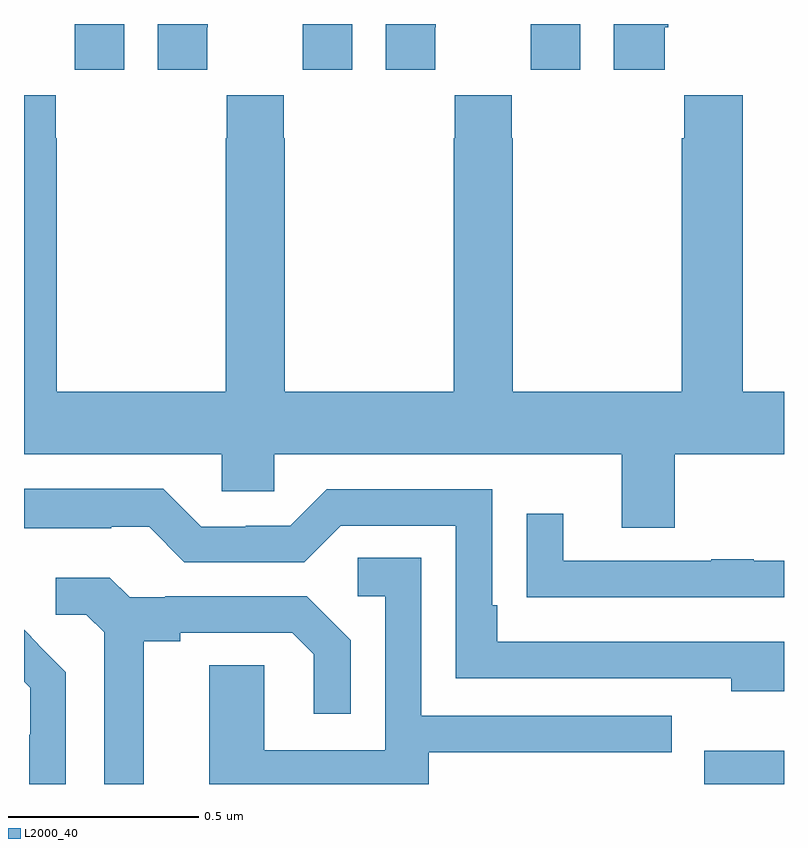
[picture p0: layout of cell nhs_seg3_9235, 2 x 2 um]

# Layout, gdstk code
import gdstk
lib = gdstk.Library(unit=1e-6, precision=1e-09)
def R(c, l, rs):  # rectangles x0, y0, x1, y1
    for r in rs: c.add(gdstk.rectangle(r[:2], r[2:], *l))
def P(c, l, *ps):  # polygons
    for p in ps: c.add(gdstk.Polygon(p, *l))
L2000_40 = (2000, 40)

nhs_seg3_9235 = lib.new_cell('nhs_seg3_9235')
R(nhs_seg3_9235, L2000_40, [(227.79,681.4,228,681.487)])
P(nhs_seg3_9235, L2000_40, [(226.482,683.392),(226.483,683.392),(226.483,683.4),(226.352,683.4),(226.352,683.28),(226.482,683.28)],
  [(226.864,683.4),(226.733,683.4),(226.733,683.392),(226.734,683.392),(226.734,683.28),(226.864,683.28)],
  [(227.082,683.392),(227.083,683.392),(227.083,683.4),(226.952,683.4),(226.952,683.28),(227.082,683.28)],
  [(227.464,683.4),(227.333,683.4),(227.333,683.392),(227.334,683.392),(227.334,683.28),(227.464,683.28)],
  [(227.686,683.392),(227.696,683.392),(227.696,683.4),(227.552,683.4),(227.552,683.28),(227.686,683.28)],
  [(226.264,683.4),(226.133,683.4),(226.133,683.392),(226.134,683.392),(226.134,683.28),(226.264,683.28)],
  [(227.713,682.268),(228,682.268),(228,682.432),(227.891,682.432),(227.891,683.212),(227.737,683.212),(227.737,683.099),(227.731,683.099),(227.731,682.432),(227.286,682.432),(227.286,683.099),(227.283,683.099),(227.283,683.212),(227.133,683.212),(227.133,683.099),(227.131,683.099),(227.131,682.432),(226.686,682.432),(226.686,683.099),(226.683,683.099),(226.683,683.212),(226.533,683.212),(226.533,683.099),(226.531,683.099),(226.531,682.432),(226.086,682.432),(226.086,683.099),(226.083,683.099),(226.083,683.212),(226,683.212),(226,682.268),(226.521,682.268),(226.521,682.17),(226.659,682.17),(226.659,682.268),(227.573,682.268),(227.573,682.074),(227.713,682.074)],
  [(228,681.774),(227.245,681.774),(227.245,681.871),(227.232,681.871),(227.232,682.176),(226.797,682.176),(226.701,682.08),(226.583,682.08),(226.583,682.077),(226.467,682.077),(226.367,682.177),(226,682.177),(226,682.073),(226.229,682.073),(226.229,682.077),(226.329,682.077),(226.422,681.984),(226.737,681.984),(226.833,682.08),(227.136,682.08),(227.136,681.678),(227.861,681.678),(227.861,681.644),(228,681.644)],
  [(228,681.987),(227.921,681.987),(227.921,681.992),(227.809,681.992),(227.809,681.987),(227.419,681.987),(227.419,682.111),(227.323,682.111),(227.323,681.892),(227.425,681.892),(227.425,681.891),(228,681.891)],
  [(227.065,681.483),(227.705,681.483),(227.705,681.579),(227.046,681.579),(227.046,681.995),(226.878,681.995),(226.878,681.894),(226.95,681.894),(226.95,681.489),(226.632,681.489),(226.632,681.713),(226.487,681.713),(226.487,681.4),(227.065,681.4)],
  [(226.315,681.776),(226.411,681.776),(226.411,681.798),(226.706,681.798),(226.763,681.741),(226.763,681.585),(226.86,681.585),(226.86,681.778),(226.744,681.894),(226.372,681.894),(226.372,681.891),(226.278,681.891),(226.226,681.943),(226.083,681.943),(226.083,681.846),(226.164,681.846),(226.211,681.799),(226.211,681.4),(226.315,681.4)],
  [(226.11,681.694),(226.037,681.767),(226.038,681.768),(226,681.806),(226,681.669),(226.016,681.653),(226.016,681.53),(226.014,681.53),(226.014,681.4),(226.11,681.4)])

lib.write_gds('nhs_seg3_9235.gds')
